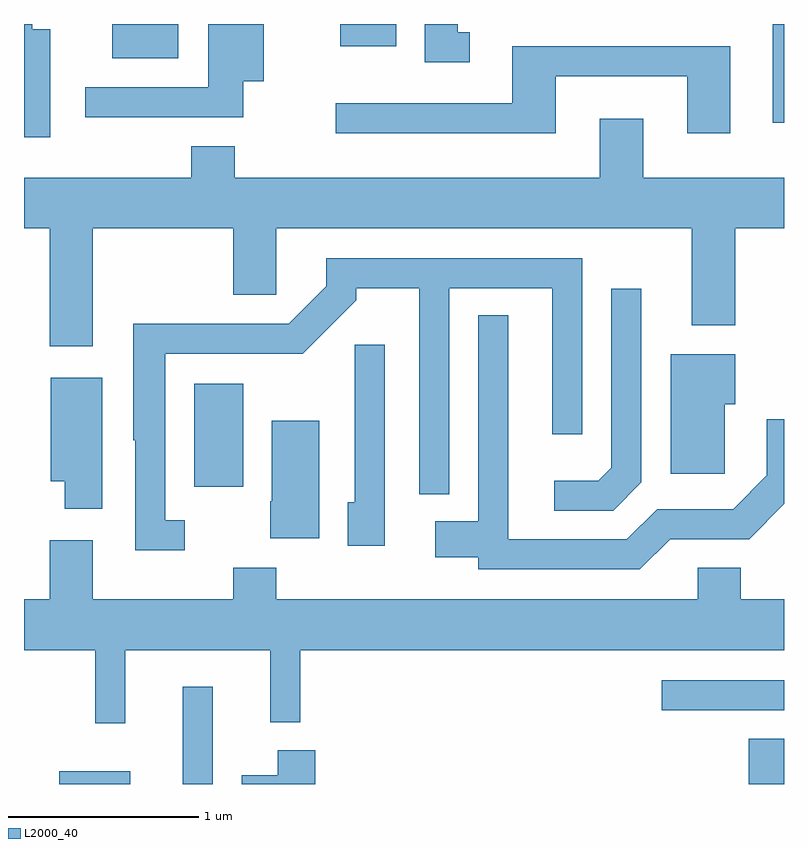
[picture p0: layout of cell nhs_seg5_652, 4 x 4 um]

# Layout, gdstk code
import gdstk
lib = gdstk.Library(unit=1e-6, precision=1e-09)
def R(c, l, rs):  # rectangles x0, y0, x1, y1
    for r in rs: c.add(gdstk.rectangle(r[:2], r[2:], *l))
def P(c, l, *ps):  # polygons
    for p in ps: c.add(gdstk.Polygon(p, *l))
L2000_40 = (2000, 40)

nhs_seg5_652 = lib.new_cell('nhs_seg5_652')
R(nhs_seg5_652, L2000_40, [(203.796,1476.072,204.169,1476.139), (204.446,1476.072,204.604,1476.583), (207.426,1476.072,207.611,1476.309), (206.968,1476.461,207.611,1476.619), (204.506,1477.636,204.764,1478.179), (207.551,1479.551,207.611,1480.072), (204.076,1479.891,204.424,1480.072), (205.276,1479.956,205.569,1480.072)])
P(nhs_seg5_652, L2000_40, [(204.764,1479.771),(204.874,1479.771),(204.874,1480.072),(204.581,1480.072),(204.581,1479.739),(203.933,1479.739),(203.933,1479.581),(204.764,1479.581)],
  [(205.958,1480.029),(205.894,1480.029),(205.894,1480.072),(205.721,1480.072),(205.721,1479.871),(205.958,1479.871)],
  [(203.749,1480.044),(203.654,1480.044),(203.654,1480.072),(203.611,1480.072),(203.611,1479.476),(203.749,1479.476)],
  [(206.409,1479.796),(207.101,1479.796),(207.101,1479.496),(207.329,1479.496),(207.329,1479.954),(206.181,1479.954),(206.181,1479.654),(205.253,1479.654),(205.253,1479.496),(206.409,1479.496)],
  [(203.974,1478.996),(204.711,1478.996),(204.711,1478.646),(204.939,1478.646),(204.939,1478.996),(207.126,1478.996),(207.126,1478.486),(207.354,1478.486),(207.354,1478.996),(207.611,1478.996),(207.611,1479.264),(206.869,1479.264),(206.869,1479.574),(206.641,1479.574),(206.641,1479.264),(204.719,1479.264),(204.719,1479.429),(204.491,1479.429),(204.491,1479.264),(203.611,1479.264),(203.611,1478.996),(203.746,1478.996),(203.746,1478.376),(203.974,1478.376)],
  [(204.458,1477.459),(204.354,1477.459),(204.354,1478.336),(205.077,1478.336),(205.359,1478.619),(205.359,1478.681),(205.691,1478.681),(205.691,1477.598),(205.849,1477.598),(205.849,1478.681),(206.391,1478.681),(206.391,1477.913),(206.549,1477.913),(206.549,1478.839),(205.201,1478.839),(205.201,1478.692),(205.004,1478.494),(204.186,1478.494),(204.186,1477.88),(204.196,1477.88),(204.196,1477.301),(204.458,1477.301)],
  [(206.859,1477.659),(206.859,1478.678),(206.701,1478.678),(206.701,1477.737),(206.634,1477.669),(206.403,1477.669),(206.403,1477.511),(206.712,1477.511)],
  [(207.012,1477.361),(207.427,1477.361),(207.611,1477.546),(207.611,1477.993),(207.521,1477.993),(207.521,1477.697),(207.344,1477.519),(206.944,1477.519),(206.784,1477.359),(206.159,1477.359),(206.159,1478.538),(206.001,1478.538),(206.001,1477.454),(205.776,1477.454),(205.776,1477.266),(206.001,1477.266),(206.001,1477.201),(206.852,1477.201)],
  [(205.509,1478.383),(205.351,1478.383),(205.351,1477.554),(205.316,1477.554),(205.316,1477.326),(205.509,1477.326)],
  [(207.299,1478.071),(207.354,1478.071),(207.354,1478.334),(207.016,1478.334),(207.016,1477.706),(207.299,1477.706)],
  [(204.024,1478.209),(203.751,1478.209),(203.751,1477.666),(203.826,1477.666),(203.826,1477.521),(204.024,1477.521)],
  [(205.164,1477.984),(204.916,1477.984),(204.916,1477.56),(204.906,1477.56),(204.906,1477.366),(205.164,1477.366)],
  [(204.144,1476.776),(204.906,1476.776),(204.906,1476.398),(205.064,1476.398),(205.064,1476.776),(207.611,1476.776),(207.611,1477.044),(207.384,1477.044),(207.384,1477.209),(207.156,1477.209),(207.156,1477.044),(204.939,1477.044),(204.939,1477.209),(204.711,1477.209),(204.711,1477.044),(203.974,1477.044),(203.974,1477.354),(203.746,1477.354),(203.746,1477.044),(203.611,1477.044),(203.611,1476.776),(203.986,1476.776),(203.986,1476.393),(204.144,1476.393)],
  [(205.144,1476.249),(204.946,1476.249),(204.946,1476.119),(204.756,1476.119),(204.756,1476.072),(205.144,1476.072)])

lib.write_gds('nhs_seg5_652.gds')
